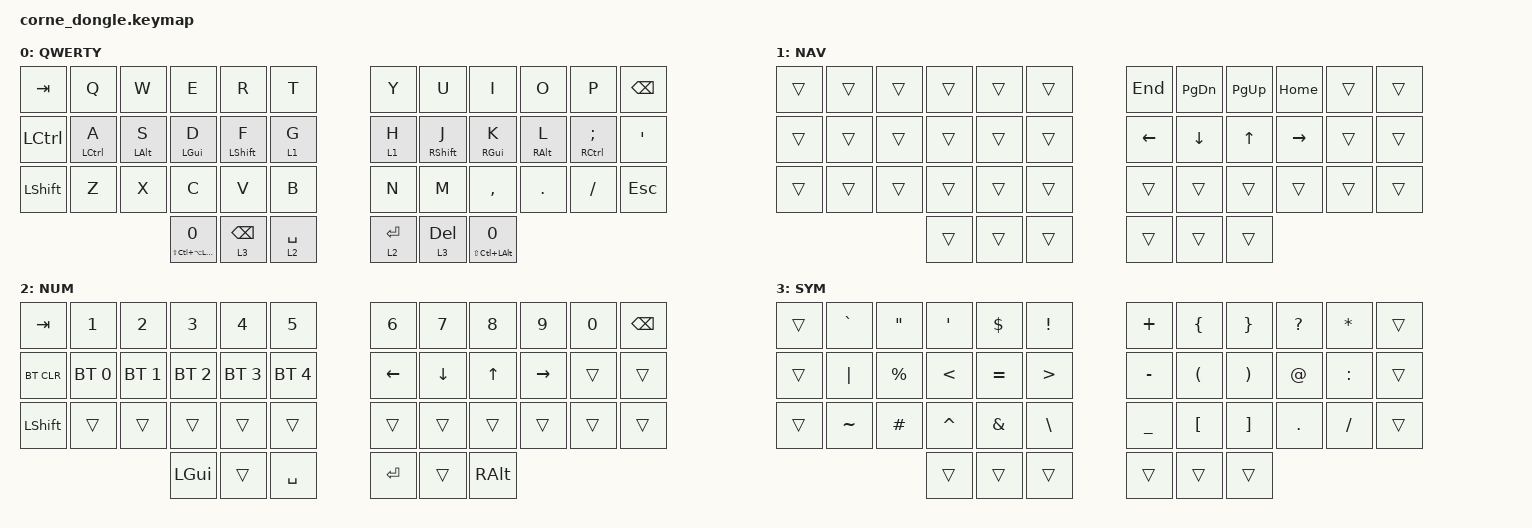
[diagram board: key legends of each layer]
/*
 * Copyright (c) 2020 The ZMK Contributors
 *
 * SPDX-License-Identifier: MIT
 */

#include <behaviors.dtsi>
#include <dt-bindings/zmk/keys.h>
#include <dt-bindings/zmk/bt.h>

// Key position groups for positional hold-tap
#define KEYS_L 0 1 2 3 4 5 12 13 14 15 16 17 24 25 26 27 28 29
#define KEYS_R 6 7 8 9 10 11 18 19 20 21 22 23 30 31 32 33 34 35
#define THUMBS 36 37 38 39 40 41

#define COMBO_TIMEOUT 75

#define HYPER LS(LC(LA(LGUI)))
#define MEH   LS(LC(LALT))

/ {
        behaviors {
                hml: home_row_mod_left {
                        compatible = "zmk,behavior-hold-tap";
                        #binding-cells = <2>;
                        bindings = <&kp>, <&kp>;
                        flavor = "balanced";
                        tapping-term-ms = <280>;
                        quick-tap-ms = <175>;
                        require-prior-idle-ms = <150>;
                        hold-trigger-key-positions = <6 7 8 9 10 11 18 19 20 21 22 23 30 31 32 33 34 35 36 37 38 39 40 41>;
                };

                hmr: home_row_mod_right {
                        compatible = "zmk,behavior-hold-tap";
                        #binding-cells = <2>;
                        bindings = <&kp>, <&kp>;
                        flavor = "balanced";
                        tapping-term-ms = <280>;
                        quick-tap-ms = <175>;
                        require-prior-idle-ms = <150>;
                        hold-trigger-on-release;
                        hold-trigger-key-positions = <KEYS_L THUMBS>;
                };
        };

        combos {
                compatible = "zmk,combos";

                combo_tab {
                        timeout-ms = <COMBO_TIMEOUT>;
                        layers = <0>;
                        key-positions = <1 2>;
                        bindings = <&kp TAB>;
                };

                combo_space {
                        timeout-ms = <COMBO_TIMEOUT>;
                        layers = <0>;
                        key-positions = <15 16>;
                        bindings = <&kp SPACE>;
                };

                combo_esc {
                        timeout-ms = <COMBO_TIMEOUT>;
                        layers = <0>;
                        key-positions = <19 20>;
                        bindings = <&kp ESC>;
                };
        };

        keymap {
                compatible = "zmk,keymap";

                default_layer {
// -----------------------------------------------------------------------------------------
// |  TAB |  Q  |  W  |  E  |  R  |  T  |   |  Y  |  U   |  I  |  O  |  P  | BKSP |
// | CTRL |  A  |  S  |  D  |  F  |  G  |   |  H  |  J   |  K  |  L  |  ;  |  '   |
// | SHFT |  Z  |  X  |  C  |  V  |  B  |   |  N  |  M   |  ,  |  .  |  /  | ESC  |
//                    | HYP | SYM | NUM |   | NUM | SYM  | MEH |
//                    | --- | BSP | SPC |   | RET | DEL  | --- |
                        bindings = <
   &kp TAB   &kp Q &kp W &kp E &kp R &kp T   &kp Y &kp U  &kp I     &kp O   &kp P    &kp BSPC
   &kp LCTRL &hml LCTRL A &hml LALT S &hml LGUI D &hml LSHFT F &lt 1 G   &lt 1 H &hmr RSHFT J &hmr RGUI K &hmr RALT L &hmr RCTRL SEMI &kp SQT
   &kp LSHFT &kp Z &kp X &kp C &kp V &kp B   &kp N &kp M  &kp COMMA &kp DOT &kp FSLH &kp ESC
                  &mt HYPER 0 &lt 3 BSPC &lt 2 SPACE   &lt 2 RET &lt 3 DEL &mt MEH 0
                        >;
                display-name = "QWERTY";
                };

                nav_layer {
// -----------------------------------------------------------------------------------------
// |     |     |     |     |     |     |   | END | PGDN | PGUP | HOME |     |     |
// |     |     |     |     |     |     |   | LFT | DWN  |  UP  | RGT  |     |     |
// |     |     |     |     |     |     |   |     |      |      |      |     |     |
//                   |     |     |     |   |     |      |      |
                        bindings = <
   &trans &trans &trans &trans &trans &trans   &kp END  &kp PG_DN &kp PG_UP &kp HOME  &trans &trans
   &trans &trans &trans &trans &trans &trans   &kp LEFT &kp DOWN  &kp UP    &kp RIGHT &trans &trans
   &trans &trans &trans &trans &trans &trans   &trans   &trans    &trans    &trans    &trans &trans
                        &trans &trans &trans   &trans   &trans    &trans
                        >;
                display-name = "NAV";
                };

                lower_layer {
// -----------------------------------------------------------------------------------------
// |  TAB |  1  |  2  |  3  |  4  |  5  |   |  6  |  7  |  8  |  9  |  0  | BKSP |
// | BTCLR| BT1 | BT2 | BT3 | BT4 | BT5 |   | LFT | DWN |  UP | RGT |     |      |
// | SHFT |     |     |     |     |     |   |     |     |     |     |     |      |
//                    | GUI |     | SPC |   | ENT |     | ALT |
                        bindings = <
   &kp TAB    &kp N1       &kp N2       &kp N3       &kp N4       &kp N5         &kp N6   &kp N7   &kp N8 &kp N9    &kp N0 &kp BSPC
   &bt BT_CLR &bt BT_SEL 0 &bt BT_SEL 1 &bt BT_SEL 2 &bt BT_SEL 3 &bt BT_SEL 4   &kp LEFT &kp DOWN &kp UP &kp RIGHT &trans &trans
   &kp LSHFT  &trans       &trans       &trans       &trans       &trans         &trans   &trans   &trans &trans    &trans &trans
                                    &kp LGUI     &trans       &kp SPACE      &kp RET  &trans   &kp RALT
                        >;
                display-name = "NUM";
                };

                raise_layer {
// -----------------------------------------------------------------------------------------
// |     |  `  |  "  |  '  |  $  |  !  |   |  +  |  {  |  }  |  ?  |  *  |     |
// |     |  |  |  %  |  <  |  =  |  >  |   |  -  |  (  |  )  |  @  |  :  |     |
// |     |  ~  |  #  |  ^  |  &  |  \  |   |  _  |  [  |  ]  |  .  |  /  |     |
//                   |     |     |     |   |     |     |     |
                        bindings = <
   &trans &kp GRAVE &kp DQT   &kp SQT   &kp DLLR  &kp EXCL   &kp PLUS  &kp LBRC &kp RBRC &kp QMARK &kp STAR  &trans
   &trans &kp PIPE  &kp PRCNT &kp LT    &kp EQUAL &kp GT     &kp MINUS &kp LPAR &kp RPAR &kp AT    &kp COLON &trans
   &trans &kp TILDE &kp HASH  &kp CARET &kp AMPS  &kp BSLH   &kp UNDER &kp LBKT &kp RBKT &kp DOT   &kp FSLH  &trans
                             &trans &trans &trans   &trans &trans &trans
                        >;
                display-name = "SYM";
                };
        };
};
